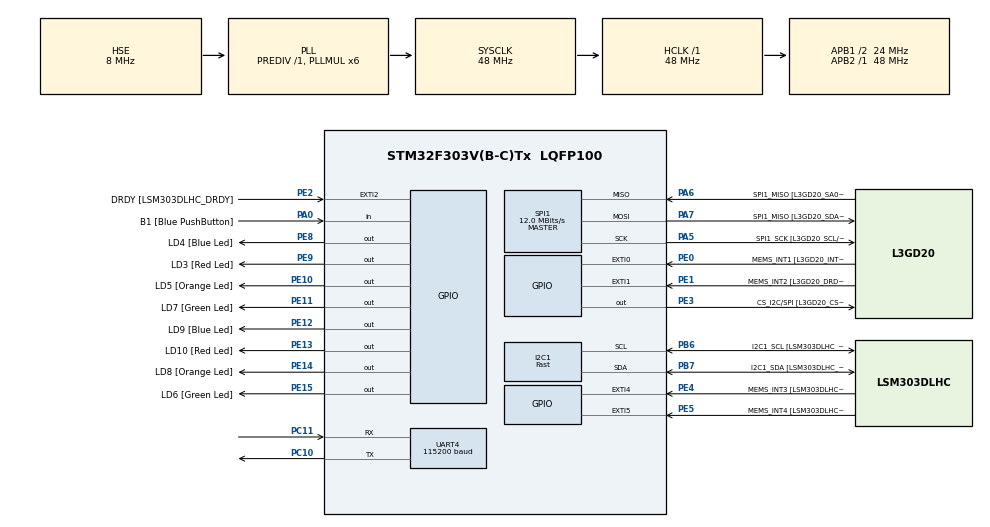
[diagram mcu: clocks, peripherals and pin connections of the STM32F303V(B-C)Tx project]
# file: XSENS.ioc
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I2C1.GeneralCallMode=I2C_GENERALCALL_ENABLE
I2C1.I2C_Speed_Mode=I2C_Fast
I2C1.NoStretchMode=I2C_NOSTRETCH_DISABLE
I2C1.OwnAddress=0x48
I2C1.Speed=100
I2C1.Timing=0x20000215
I2C1.Timing-I2C=0x2000090E
Mcu.Family=STM32F3
Mcu.Name=STM32F303V(B-C)Tx
Mcu.Package=LQFP100
NVIC.I2C1_EV_IRQn=true\:0\:0\:false\:false\:true\:true\:true\:true
NVIC.PriorityGroup=NVIC_PRIORITYGROUP_0
NVIC.UART4_IRQn=true\:0\:0\:false\:false\:true\:true\:true\:true
PA0.GPIO_Label=B1 [Blue PushButton]
PA0.Signal=GPIO_Input
PA11.GPIO_Label=DM
PA11.Signal=USB_DM
PA12.GPIO_Label=DP
PA12.Signal=USB_DP
PA13.GPIO_Label=SWDIO
PA13.Mode=Serial_Wire
PA13.Signal=SYS_JTMS-SWDIO
PA14.GPIO_Label=SWCLK
PA14.Mode=Serial_Wire
PA14.Signal=SYS_JTCK-SWCLK
PA5.GPIO_Label=SPI1_SCK [L3GD20_SCL/SPC]
PA5.Mode=Full_Duplex_Master
PA5.Signal=SPI1_SCK
PA6.GPIO_Label=SPI1_MISO [L3GD20_SA0/SDO]
PA6.Mode=Full_Duplex_Master
PA6.Signal=SPI1_MISO
PA7.GPIO_Label=SPI1_MISO [L3GD20_SDA/SDI/SDO]
PA7.Mode=Full_Duplex_Master
PA7.Signal=SPI1_MOSI
PB3.GPIO_Label=SWO
PB3.Signal=SYS_JTDO-TRACESWO
PB6.GPIO_Label=I2C1_SCL [LSM303DLHC_SCL]
PB6.GPIO_Pu=GPIO_PULLUP
PB6.Mode=I2C
PB6.Signal=I2C1_SCL
PB7.GPIO_Label=I2C1_SDA [LSM303DLHC_SDA]
PB7.GPIO_Pu=GPIO_PULLUP
PB7.Mode=I2C
PB7.Signal=I2C1_SDA
PC10.Mode=Asynchronous
PC10.Signal=UART4_TX
PC11.Mode=Asynchronous
PC11.Signal=UART4_RX
PC14-OSC32_IN.GPIO_Label=OSC32_IN
PC14-OSC32_IN.Signal=RCC_OSC32_IN
PC15-OSC32_OUT.GPIO_Label=OSC32_OUT
PC15-OSC32_OUT.Signal=RCC_OSC32_OUT
PE0.GPIO_Label=MEMS_INT1 [L3GD20_INT1]
PE0.GPIO_ModeDefaultEXTI=GPIO_MODE_EVT_RISING
PE0.Signal=GPXTI0
PE1.GPIO_Label=MEMS_INT2 [L3GD20_DRDY/INT2]
PE1.GPIO_ModeDefaultEXTI=GPIO_MODE_EVT_RISING
PE1.Signal=GPXTI1
PE10.GPIO_Label=LD5 [Orange Led]
PE10.Signal=GPIO_Output
PE11.GPIO_Label=LD7 [Green Led]
PE11.Signal=GPIO_Output
PE12.GPIO_Label=LD9 [Blue Led]
PE12.Signal=GPIO_Output
PE13.GPIO_Label=LD10 [Red Led]
PE13.Signal=GPIO_Output
PE14.GPIO_Label=LD8 [Orange Led]
PE14.Signal=GPIO_Output
PE15.GPIO_Label=LD6 [Green Led]
PE15.Signal=GPIO_Output
PE2.GPIO_Label=DRDY [LSM303DLHC_DRDY]
PE2.GPIO_ModeDefaultEXTI=GPIO_MODE_EVT_RISING
PE2.Signal=GPXTI2
PE3.GPIO_Label=CS_I2C/SPI [L3GD20_CS_I2C/SPI]
PE3.Signal=GPIO_Output
PE4.GPIO_Label=MEMS_INT3 [LSM303DLHC_INT1]
PE4.GPIO_ModeDefaultEXTI=GPIO_MODE_EVT_RISING
PE4.Signal=GPXTI4
PE5.GPIO_Label=MEMS_INT4 [LSM303DLHC_INT2]
PE5.GPIO_ModeDefaultEXTI=GPIO_MODE_EVT_RISING
PE5.Signal=GPXTI5
PE8.GPIO_Label=LD4 [Blue Led]
PE8.Signal=GPIO_Output
PE9.GPIO_Label=LD3 [Red Led]
PE9.Signal=GPIO_Output
PF0-OSC_IN.GPIO_Label=OSC_IN
PF0-OSC_IN.Mode=HSE-External-Clock-Source
PF0-OSC_IN.Signal=RCC_OSC_IN
PF1-OSC_OUT.GPIO_Label=OSC_OUT
PF1-OSC_OUT.Signal=RCC_OSC_OUT
ProjectManager.HeapSize=0x200
ProjectManager.StackSize=0x400
ProjectManager.TargetToolchain=Makefile
RCC.AHBFreq_Value=48000000
RCC.APB1CLKDivider=RCC_HCLK_DIV2
RCC.APB1Freq_Value=24000000
RCC.APB1TimFreq_Value=48000000
RCC.APB2Freq_Value=48000000
RCC.APB2TimFreq_Value=48000000
RCC.CortexFreq_Value=48000000
RCC.HCLKFreq_Value=48000000
RCC.HSE_VALUE=8000000
RCC.HSI_VALUE=8000000
RCC.LSE_VALUE=32768
RCC.PLLMUL=RCC_PLL_MUL6
RCC.PLLSourceVirtual=RCC_PLLSOURCE_HSE
RCC.SYSCLKFreq_VALUE=48000000
RCC.SYSCLKSourceVirtual=RCC_SYSCLKSOURCE_PLLCLK
RCC.USBFreq_Value=48000000
SPI1.BaudRatePrescaler=SPI_BAUDRATEPRESCALER_4
SPI1.BaudRatePrescaler-Full_Duplex_Master=SPI_BAUDRATEPRESCALER_2
SPI1.CalculateBaudRate=12.0 MBits/s
SPI1.CalculateBaudRate-Full_Duplex_Master=24.0 MBits/s
SPI1.Direction=SPI_DIRECTION_2LINES
SPI1.Mode=SPI_MODE_MASTER
SPI1.Mode-Full_Duplex_Master=SPI_MODE_MASTER
SPI1.VirtualType=VM_MASTER
UART4.BaudRate=115200
board=STM32F3DISCOVERY

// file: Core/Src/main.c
/* USER CODE BEGIN Header */
/**
  ******************************************************************************
  * @file           : main.c
  * @brief          : Main program body
  ******************************************************************************
  * @attention
  *
  * Copyright (c) 2023 STMicroelectronics.
  * All rights reserved.
  *
  * This software is licensed under terms that can be found in the LICENSE file
  * in the root directory of this software component.
  * If no LICENSE file comes with this software, it is provided AS-IS.
  *
  ******************************************************************************
  */
/* USER CODE END Header */
#include "main.h"
#include "i2c.h"
#include "spi.h"
#include "usart.h"
#include "gpio.h"

/* USER CODE BEGIN Includes */
#include "xsens.h"
#include "stdbool.h"
/* USER CODE END Includes */

/* USER CODE BEGIN PV */
bool I2CFail = false;
uint8_t I2CRetries = 0;
/* USER CODE END PV */

void SystemClock_Config(void);

/* USER CODE BEGIN 0 */
void HAL_I2C_AddrCallback (I2C_HandleTypeDef *hi2c, uint8_t TransferDirection, uint16_t AddrMatchCode)
{
  if (TransferDirection == I2C_DIRECTION_RECEIVE)
  {
    if (SendAHRSData() != HAL_OK)
      I2Creset();
    HAL_GPIO_WritePin(LD4_GPIO_Port, LD4_Pin, GPIO_PIN_SET);
    HAL_GPIO_WritePin(LD4_GPIO_Port, LD3_Pin, GPIO_PIN_RESET);
  }
  else if (TransferDirection == I2C_DIRECTION_TRANSMIT)
  {
    if (ReceiveI2CData() != HAL_OK)
      I2Creset();
    HAL_GPIO_WritePin(LD4_GPIO_Port, LD4_Pin, GPIO_PIN_SET);
    HAL_GPIO_WritePin(LD4_GPIO_Port, LD3_Pin, GPIO_PIN_RESET);
  }
}

void HAL_I2C_SlaveRxCpltCallback(I2C_HandleTypeDef *hi2c)
{
  while (HAL_I2C_EnableListen_IT(&hi2c1) != HAL_OK && I2CRetries < 4)
    I2CRetries++;
  if(I2CRetries >= 4)
    I2CFail = true;

}

void HAL_I2C_SlaveTxCpltCallback(I2C_HandleTypeDef *hi2c)
{
  while (HAL_I2C_EnableListen_IT(&hi2c1) != HAL_OK && I2CRetries < 4)
    I2CRetries++;
  if(I2CRetries >= 4)
    I2CFail = true;
}
/* USER CODE END 0 */

int main(void)
{

  /* MCU Configuration--------------------------------------------------------*/

  /* Reset of all peripherals, Initializes the Flash interface and the Systick. */
  HAL_Init();

  /* Configure the system clock */
  SystemClock_Config();

  /* Initialize all configured peripherals */
  MX_GPIO_Init();
  MX_I2C1_Init();
  MX_SPI1_Init();
  MX_UART4_Init();
  /* USER CODE BEGIN 2 */
  HAL_I2C_EnableListen_IT(&hi2c1);
  // SetBaudRate();
  /* USER CODE END 2 */

  /* Infinite loop */
  /* USER CODE BEGIN WHILE */
  while (1)
  {
    ReadAHRS();
    if (I2CFail)
      I2Creset();
    I2CFail = false;
    /* USER CODE END WHILE */

  }
}

void SystemClock_Config(void)
{
  RCC_OscInitTypeDef RCC_OscInitStruct = {0};
  RCC_ClkInitTypeDef RCC_ClkInitStruct = {0};
  RCC_PeriphCLKInitTypeDef PeriphClkInit = {0};

  /** Initializes the RCC Oscillators according to the specified parameters
  * in the RCC_OscInitTypeDef structure.
  */
  RCC_OscInitStruct.OscillatorType = RCC_OSCILLATORTYPE_HSI|RCC_OSCILLATORTYPE_HSE;
  RCC_OscInitStruct.HSEState = RCC_HSE_BYPASS;
  RCC_OscInitStruct.HSEPredivValue = RCC_HSE_PREDIV_DIV1;
  RCC_OscInitStruct.HSIState = RCC_HSI_ON;
  RCC_OscInitStruct.HSICalibrationValue = RCC_HSICALIBRATION_DEFAULT;
  RCC_OscInitStruct.PLL.PLLState = RCC_PLL_ON;
  RCC_OscInitStruct.PLL.PLLSource = RCC_PLLSOURCE_HSE;
  RCC_OscInitStruct.PLL.PLLMUL = RCC_PLL_MUL6;
  if (HAL_RCC_OscConfig(&RCC_OscInitStruct) != HAL_OK)
  {
    Error_Handler();
  }

  /** Initializes the CPU, AHB and APB buses clocks
  */
  RCC_ClkInitStruct.ClockType = RCC_CLOCKTYPE_HCLK|RCC_CLOCKTYPE_SYSCLK
                              |RCC_CLOCKTYPE_PCLK1|RCC_CLOCKTYPE_PCLK2;
  RCC_ClkInitStruct.SYSCLKSource = RCC_SYSCLKSOURCE_PLLCLK;
  RCC_ClkInitStruct.AHBCLKDivider = RCC_SYSCLK_DIV1;
  RCC_ClkInitStruct.APB1CLKDivider = RCC_HCLK_DIV2;
  RCC_ClkInitStruct.APB2CLKDivider = RCC_HCLK_DIV1;

  if (HAL_RCC_ClockConfig(&RCC_ClkInitStruct, FLASH_LATENCY_1) != HAL_OK)
  {
    Error_Handler();
  }
  PeriphClkInit.PeriphClockSelection = RCC_PERIPHCLK_UART4|RCC_PERIPHCLK_I2C1;
  PeriphClkInit.Uart4ClockSelection = RCC_UART4CLKSOURCE_PCLK1;
  PeriphClkInit.I2c1ClockSelection = RCC_I2C1CLKSOURCE_HSI;
  if (HAL_RCCEx_PeriphCLKConfig(&PeriphClkInit) != HAL_OK)
  {
    Error_Handler();
  }
}

void Error_Handler(void)
{
  /* USER CODE BEGIN Error_Handler_Debug */
  HAL_GPIO_WritePin(LD4_GPIO_Port, LD4_Pin, GPIO_PIN_RESET);
  HAL_GPIO_WritePin(LD4_GPIO_Port, LD3_Pin, GPIO_PIN_SET);
  /* User can add his own implementation to report the HAL error return state */
  __disable_irq();
  while (1)
  {
  }
  /* USER CODE END Error_Handler_Debug */
}
